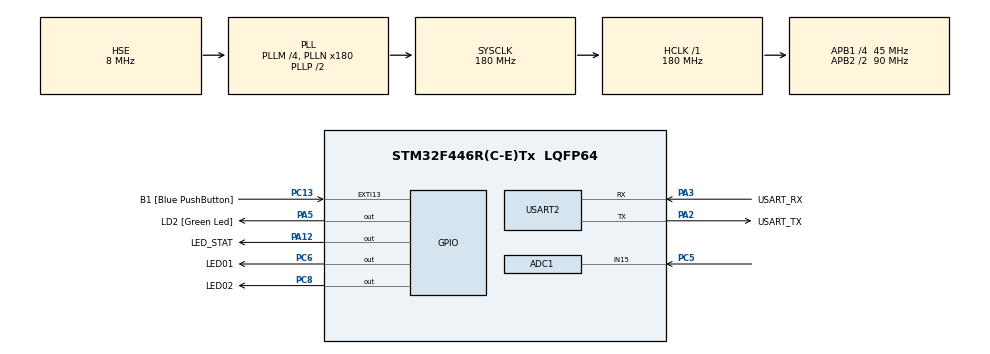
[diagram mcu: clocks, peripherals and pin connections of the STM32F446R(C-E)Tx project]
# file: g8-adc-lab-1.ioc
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ADC1.Channel-0\#ChannelRegularConversion=ADC_CHANNEL_15
ADC1.ClockPrescaler=ADC_CLOCK_SYNC_PCLK_DIV4
ADC1.ContinuousConvMode=DISABLE
ADC1.DMAContinuousRequests=DISABLE
ADC1.DataAlign=ADC_DATAALIGN_RIGHT
ADC1.DiscontinuousConvMode=DISABLE
ADC1.EOCSelection=ADC_EOC_SINGLE_CONV
ADC1.EnableAnalogWatchDog=false
ADC1.ExternalTrigConv=ADC_SOFTWARE_START
ADC1.ExternalTrigConvEdge=ADC_EXTERNALTRIGCONVEDGE_NONE
ADC1.InjNumberOfConversion=0
ADC1.NbrOfConversion=1
ADC1.NbrOfConversionFlag=1
ADC1.Rank-0\#ChannelRegularConversion=1
ADC1.Resolution=ADC_RESOLUTION_12B
ADC1.SamplingTime-0\#ChannelRegularConversion=ADC_SAMPLETIME_3CYCLES
ADC1.ScanConvMode=DISABLE
ADC1.master=1
Mcu.Family=STM32F4
Mcu.Name=STM32F446R(C-E)Tx
Mcu.Package=LQFP64
NVIC.PriorityGroup=NVIC_PRIORITYGROUP_0
NVIC.TIM1_UP_TIM10_IRQn=true\:0\:0\:false\:false\:true\:true
PA12.GPIO_Label=LED_STAT
PA12.Signal=GPIO_Output
PA13.GPIO_Label=TMS
PA13.Mode=Serial_Wire
PA13.Signal=SYS_JTMS-SWDIO
PA14.GPIO_Label=TCK
PA14.Mode=Serial_Wire
PA14.Signal=SYS_JTCK-SWCLK
PA2.GPIO_Label=USART_TX
PA2.Mode=Asynchronous
PA2.Signal=USART2_TX
PA3.GPIO_Label=USART_RX
PA3.Mode=Asynchronous
PA3.Signal=USART2_RX
PA5.GPIO_Label=LD2 [Green Led]
PA5.Signal=GPIO_Output
PB3.GPIO_Label=SWO
PB3.Signal=SYS_JTDO-SWO
PC13.GPIO_Label=B1 [Blue PushButton]
PC13.GPIO_ModeDefaultEXTI=GPIO_MODE_IT_FALLING
PC13.Signal=GPXTI13
PC14-OSC32_IN.Signal=RCC_OSC32_IN
PC15-OSC32_OUT.Signal=RCC_OSC32_OUT
PC5.Signal=ADCx_IN15
PC6.GPIO_Label=LED01
PC6.Signal=GPIO_Output
PC8.GPIO_Label=LED02
PC8.Signal=GPIO_Output
PH0-OSC_IN.Mode=HSE-External-Clock-Source
PH0-OSC_IN.Signal=RCC_OSC_IN
PH1-OSC_OUT.Mode=HSE-External-Clock-Source
PH1-OSC_OUT.Signal=RCC_OSC_OUT
ProjectManager.HeapSize=0x200
ProjectManager.StackSize=0x400
ProjectManager.TargetToolchain=SW4STM32
RCC.48MHZClocksFreq_Value=84000000
RCC.AHBFreq_Value=180000000
RCC.APB1CLKDivider=RCC_HCLK_DIV4
RCC.APB1Freq_Value=45000000
RCC.APB1TimFreq_Value=90000000
RCC.APB2CLKDivider=RCC_HCLK_DIV2
RCC.APB2Freq_Value=90000000
RCC.APB2TimFreq_Value=180000000
RCC.CortexFreq_Value=180000000
RCC.FLatency-AdvancedSettings=FLASH_LATENCY_5
RCC.HCLKFreq_Value=180000000
RCC.HSE_VALUE=8000000
RCC.HSI_VALUE=16000000
RCC.PLLM=4
RCC.PLLN=180
RCC.PLLSourceVirtual=RCC_PLLSOURCE_HSE
RCC.SYSCLKFreq_VALUE=180000000
RCC.SYSCLKSource=RCC_SYSCLKSOURCE_PLLCLK
RCC.USBFreq_Value=180000000
RCC.VCOOutputFreq_Value=360000000
SH.ADCx_IN15.0=ADC1_IN15,IN15
TIM10.Period=10000-1
TIM10.Prescaler=18000-1
USART2.VirtualMode=VM_ASYNC
VP_TIM10_VS_ClockSourceINT.Mode=Enable_Timer
board=NUCLEO-F446RE

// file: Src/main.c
/**
  ******************************************************************************
  * @file           : main.c
  * @brief          : Main program body
  ******************************************************************************
  ** This notice applies to any and all portions of this file
  * that are not between comment pairs USER CODE BEGIN and
  * USER CODE END. Other portions of this file, whether
  * inserted by the user or by software development tools
  * are owned by their respective copyright owners.
  *
  * COPYRIGHT(c) 2018 STMicroelectronics
  *
  * Redistribution and use in source and binary forms, with or without modification,
  * are permitted provided that the following conditions are met:
  *   1. Redistributions of source code must retain the above copyright notice,
  *      this list of conditions and the following disclaimer.
  *   2. Redistributions in binary form must reproduce the above copyright notice,
  *      this list of conditions and the following disclaimer in the documentation
  *      and/or other materials provided with the distribution.
  *   3. Neither the name of STMicroelectronics nor the names of its contributors
  *      may be used to endorse or promote products derived from this software
  *      without specific prior written permission.
  *
  * THIS SOFTWARE IS PROVIDED BY THE COPYRIGHT HOLDERS AND CONTRIBUTORS "AS IS"
  * AND ANY EXPRESS OR IMPLIED WARRANTIES, INCLUDING, BUT NOT LIMITED TO, THE
  * IMPLIED WARRANTIES OF MERCHANTABILITY AND FITNESS FOR A PARTICULAR PURPOSE ARE
  * DISCLAIMED. IN NO EVENT SHALL THE COPYRIGHT HOLDER OR CONTRIBUTORS BE LIABLE
  * FOR ANY DIRECT, INDIRECT, INCIDENTAL, SPECIAL, EXEMPLARY, OR CONSEQUENTIAL
  * DAMAGES (INCLUDING, BUT NOT LIMITED TO, PROCUREMENT OF SUBSTITUTE GOODS OR
  * SERVICES; LOSS OF USE, DATA, OR PROFITS; OR BUSINESS INTERRUPTION) HOWEVER
  * CAUSED AND ON ANY THEORY OF LIABILITY, WHETHER IN CONTRACT, STRICT LIABILITY,
  * OR TORT (INCLUDING NEGLIGENCE OR OTHERWISE) ARISING IN ANY WAY OUT OF THE USE
  * OF THIS SOFTWARE, EVEN IF ADVISED OF THE POSSIBILITY OF SUCH DAMAGE.
  *
  ******************************************************************************
  */
#include "main.h"
#include "stm32f4xx_hal.h"
#include "adc.h"
#include "tim.h"
#include "usart.h"
#include "gpio.h"

/* USER CODE BEGIN PV */
/* Private variables ---------------------------------------------------------*/

/* USER CODE END PV */

void SystemClock_Config(void);

/* USER CODE BEGIN PFP */
/* Private function prototypes -----------------------------------------------*/

/* USER CODE END PFP */

int main(void)
{

  /* MCU Configuration----------------------------------------------------------*/

  /* Reset of all peripherals, Initializes the Flash interface and the Systick. */
  HAL_Init();

  /* Configure the system clock */
  SystemClock_Config();

  /* Initialize all configured peripherals */
  MX_GPIO_Init();
  MX_USART2_UART_Init();
  MX_ADC1_Init();
  MX_TIM10_Init();
  /* USER CODE BEGIN 2 */

  HAL_TIM_Base_Start_IT(&htim10);

  /* USER CODE END 2 */

  /* Infinite loop */
  /* USER CODE BEGIN WHILE */
  while (1)
  {

	  /* Start single measurement */
	  HAL_ADC_Start(&hadc1);
	  /* Wait until measurement is completed */
	  HAL_ADC_PollForConversion(&hadc1, 100);
	  /* Obtain the measured value*/
	  uint32_t value = HAL_ADC_GetValue(&hadc1);
    //s  HAL_GPIO_TogglePin(GPIOA, LD2_Pin);

      if(value > 2000) {
    	  HAL_GPIO_WritePin(GPIOC, LED01_Pin, 1);
    	  HAL_GPIO_WritePin(GPIOC, LED02_Pin, 0);
    	  if(htim10.Instance ->ARR !=  10000- 1)
    	  {
    		  htim10.Instance ->ARR  = 10000 -1;
    		      	  htim10.Instance->CNT = 0;
    	  }

      } else {
    	  HAL_GPIO_WritePin(GPIOC, LED01_Pin, 0);
    	  HAL_GPIO_WritePin(GPIOC, LED02_Pin, 1);
    	  if(htim10.Instance ->ARR !=  2500- 1)
    	      	  {
    	      		  htim10.Instance ->ARR  = 2500 -1;
    	      		      	  htim10.Instance->CNT = 0;
    	      	  }
      }

  /* USER CODE END WHILE */

  }

}

void SystemClock_Config(void)
{

  RCC_OscInitTypeDef RCC_OscInitStruct;
  RCC_ClkInitTypeDef RCC_ClkInitStruct;

    /**Configure the main internal regulator output voltage
    */
  __HAL_RCC_PWR_CLK_ENABLE();

  __HAL_PWR_VOLTAGESCALING_CONFIG(PWR_REGULATOR_VOLTAGE_SCALE1);

    /**Initializes the CPU, AHB and APB busses clocks
    */
  RCC_OscInitStruct.OscillatorType = RCC_OSCILLATORTYPE_HSE;
  RCC_OscInitStruct.HSEState = RCC_HSE_BYPASS;
  RCC_OscInitStruct.PLL.PLLState = RCC_PLL_ON;
  RCC_OscInitStruct.PLL.PLLSource = RCC_PLLSOURCE_HSE;
  RCC_OscInitStruct.PLL.PLLM = 4;
  RCC_OscInitStruct.PLL.PLLN = 180;
  RCC_OscInitStruct.PLL.PLLP = RCC_PLLP_DIV2;
  RCC_OscInitStruct.PLL.PLLQ = 2;
  RCC_OscInitStruct.PLL.PLLR = 2;
  if (HAL_RCC_OscConfig(&RCC_OscInitStruct) != HAL_OK)
  {
    _Error_Handler(__FILE__, __LINE__);
  }

    /**Activate the Over-Drive mode
    */
  if (HAL_PWREx_EnableOverDrive() != HAL_OK)
  {
    _Error_Handler(__FILE__, __LINE__);
  }

    /**Initializes the CPU, AHB and APB busses clocks
    */
  RCC_ClkInitStruct.ClockType = RCC_CLOCKTYPE_HCLK|RCC_CLOCKTYPE_SYSCLK
                              |RCC_CLOCKTYPE_PCLK1|RCC_CLOCKTYPE_PCLK2;
  RCC_ClkInitStruct.SYSCLKSource = RCC_SYSCLKSOURCE_PLLCLK;
  RCC_ClkInitStruct.AHBCLKDivider = RCC_SYSCLK_DIV1;
  RCC_ClkInitStruct.APB1CLKDivider = RCC_HCLK_DIV4;
  RCC_ClkInitStruct.APB2CLKDivider = RCC_HCLK_DIV2;

  if (HAL_RCC_ClockConfig(&RCC_ClkInitStruct, FLASH_LATENCY_5) != HAL_OK)
  {
    _Error_Handler(__FILE__, __LINE__);
  }

    /**Configure the Systick interrupt time
    */
  HAL_SYSTICK_Config(HAL_RCC_GetHCLKFreq()/1000);

    /**Configure the Systick
    */
  HAL_SYSTICK_CLKSourceConfig(SYSTICK_CLKSOURCE_HCLK);

  /* SysTick_IRQn interrupt configuration */
  HAL_NVIC_SetPriority(SysTick_IRQn, 0, 0);
}

void _Error_Handler(char *file, int line)
{
  while(1)
  {
  }
}

/************************ (C) COPYRIGHT STMicroelectronics *****END OF FILE****/
